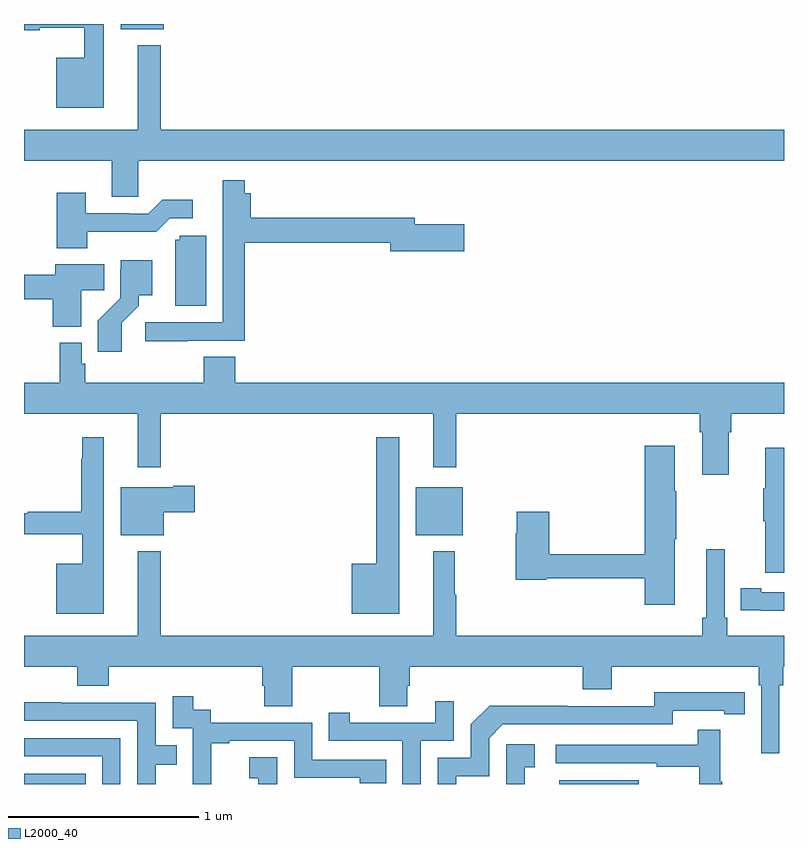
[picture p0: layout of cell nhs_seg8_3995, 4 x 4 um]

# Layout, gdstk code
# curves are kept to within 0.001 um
import gdstk
lib = gdstk.Library(unit=1e-6, precision=1e-09)
def R(c, l, rs):  # rectangles x0, y0, x1, y1
    for r in rs: c.add(gdstk.rectangle(r[:2], r[2:], *l))
def P(c, l, *ps):  # polygons
    for p in ps: c.add(gdstk.Polygon(p, *l))
L2000_40 = (2000, 40)

nhs_seg8_3995 = lib.new_cell('nhs_seg8_3995')
R(nhs_seg8_3995, L2000_40, [(357,1099.9,357.326,1099.954), (359.816,1099.9,360.235,1099.921), (359.063,1101.209,359.308,1101.463), (357.509,1103.873,357.736,1103.9)])
P(nhs_seg8_3995, L2000_40, [(357.421,1103.9),(357,1103.9),(357,1103.867),(357.084,1103.867),(357.084,1103.879),(357.317,1103.879),(357.317,1103.722),(357.17,1103.722),(357.17,1103.459),(357.421,1103.459)],
  [(357.6,1103.18),(361,1103.18),(361,1103.344),(357.721,1103.344),(357.721,1103.788),(357.599,1103.788),(357.599,1103.344),(357,1103.344),(357,1103.18),(357.461,1103.18),(357.461,1102.99),(357.6,1102.99)],
  [(357.863,1102.233),(358.163,1102.233),(358.163,1102.75),(358.928,1102.75),(358.928,1102.703),(359.317,1102.703),(359.317,1102.845),(359.056,1102.845),(359.056,1102.879),(358.193,1102.879),(358.193,1103.008),(358.163,1103.008),(358.163,1103.077),(358.047,1103.077),(358.047,1102.329),(357.639,1102.329),(357.639,1102.231),(357.863,1102.231)],
  [(357.333,1102.806),(357.695,1102.806),(357.768,1102.878),(357.889,1102.878),(357.889,1102.975),(357.727,1102.975),(357.654,1102.902),(357.554,1102.902),(357.554,1102.905),(357.325,1102.905),(357.325,1103.011),(357.173,1103.011),(357.173,1102.721),(357.333,1102.721)],
  [(357.958,1102.785),(357.819,1102.785),(357.819,1102.764),(357.797,1102.764),(357.797,1102.416),(357.958,1102.416)],
  [(357.514,1102.327),(357.604,1102.417),(357.604,1102.472),(357.676,1102.472),(357.676,1102.657),(357.509,1102.657),(357.509,1102.608),(357.507,1102.608),(357.507,1102.457),(357.388,1102.338),(357.388,1102.176),(357.514,1102.176)],
  [(357.301,1102.498),(357.422,1102.498),(357.422,1102.636),(357.164,1102.636),(357.164,1102.58),(357,1102.58),(357,1102.452),(357.152,1102.452),(357.152,1102.307),(357.301,1102.307)],
  [(360.709,1101.752),(360.722,1101.752),(360.722,1101.848),(361,1101.848),(361,1102.012),(358.112,1102.012),(358.112,1102.148),(357.947,1102.148),(357.947,1102.012),(357.323,1102.012),(357.323,1102.113),(357.303,1102.113),(357.303,1102.222),(357.187,1102.222),(357.187,1102.012),(357,1102.012),(357,1101.848),(357.599,1101.848),(357.599,1101.567),(357.721,1101.567),(357.721,1101.848),(359.153,1101.848),(359.153,1101.567),(359.275,1101.567),(359.275,1101.848),(360.557,1101.848),(360.557,1101.752),(360.569,1101.752),(360.569,1101.528),(360.709,1101.528)],
  [(358.975,1101.724),(358.854,1101.724),(358.854,1101.058),(358.724,1101.058),(358.724,1100.795),(358.975,1100.795)],
  [(357.421,1101.724),(357.307,1101.724),(357.307,1101.611),(357.3,1101.611),(357.3,1101.332),(357.021,1101.332),(357.021,1101.325),(357,1101.325),(357,1101.215),(357.307,1101.215),(357.307,1101.058),(357.17,1101.058),(357.17,1100.795),(357.421,1100.795)],
  [(360.424,1101.187),(360.432,1101.187),(360.432,1101.44),(360.424,1101.44),(360.424,1101.679),(360.266,1101.679),(360.266,1101.11),(359.765,1101.11),(359.765,1101.334),(359.594,1101.334),(359.594,1101.221),(359.587,1101.221),(359.587,1100.974),(359.748,1100.974),(359.748,1100.982),(360.266,1100.982),(360.266,1100.844),(360.424,1100.844)],
  [(361,1101.67),(360.902,1101.67),(360.902,1101.457),(360.891,1101.457),(360.891,1101.283),(360.902,1101.283),(360.902,1101.012),(361,1101.012)],
  [(357.736,1101.329),(357.898,1101.329),(357.898,1101.471),(357.785,1101.471),(357.785,1101.463),(357.509,1101.463),(357.509,1101.209),(357.736,1101.209)],
  [(361,1100.91),(360.88,1100.91),(360.88,1100.93),(360.772,1100.93),(360.772,1100.814),(360.88,1100.814),(360.88,1100.813),(361,1100.813)],
  [(360.59,1101.136),(360.59,1100.776),(360.571,1100.776),(360.571,1100.68),(359.275,1100.68),(359.275,1100.897),(359.267,1100.897),(359.267,1101.124),(359.153,1101.124),(359.153,1100.68),(357.721,1100.68),(357.721,1101.124),(357.599,1101.124),(357.599,1100.68),(357,1100.68),(357,1100.516),(357.281,1100.516),(357.281,1100.417),(357.446,1100.417),(357.446,1100.516),(358.253,1100.516),(358.253,1100.418),(358.265,1100.418),(358.265,1100.308),(358.413,1100.308),(358.413,1100.516),(358.87,1100.516),(358.87,1100.308),(359.017,1100.308),(359.017,1100.418),(359.03,1100.418),(359.03,1100.516),(359.942,1100.516),(359.942,1100.399),(360.094,1100.399),(360.094,1100.516),(360.866,1100.516),(360.866,1100.42),(360.879,1100.42),(360.879,1100.061),(360.976,1100.061),(360.976,1100.42),(360.995,1100.42),(360.995,1100.516),(361,1100.516),(361,1100.68),(360.701,1100.68),(360.701,1100.776),(360.687,1100.776),(360.687,1101.136)],
  [(359.275,1099.941),(359.448,1099.941),(359.448,1100.142),(359.52,1100.214),(360.414,1100.214),(360.414,1100.286),(360.686,1100.286),(360.686,1100.266),(360.794,1100.266),(360.794,1100.382),(360.318,1100.383),(360.318,1100.31),(359.858,1100.31),(359.858,1100.312),(359.45,1100.312),(359.352,1100.214),(359.352,1100.037),(359.178,1100.037),(359.178,1099.9),(359.275,1099.9)],
  [(357.986,1100.115),(358.081,1100.115),(358.081,1100.127),(358.422,1100.127),(358.422,1099.932),(358.767,1099.932),(358.767,1099.905),(358.907,1099.905),(358.907,1100.028),(358.518,1100.028),(358.518,1100.223),(357.984,1100.223),(357.984,1100.292),(357.892,1100.292),(357.892,1100.362),(357.783,1100.362),(357.783,1100.193),(357.888,1100.193),(357.888,1099.964),(357.887,1099.964),(357.887,1099.9),(357.986,1099.9)],
  [(359.088,1100.127),(359.262,1100.127),(359.262,1100.335),(359.165,1100.335),(359.165,1100.223),(358.714,1100.223),(358.714,1100.275),(358.603,1100.275),(358.603,1100.127),(358.992,1100.127),(358.992,1099.9),(359.088,1099.9)],
  [(357.693,1100.002),(357.803,1100.002),(357.803,1100.103),(357.693,1100.103),(357.693,1100.328),(357.197,1100.328),(357.197,1100.33),(357,1100.33),(357,1100.232),(357.597,1100.232),(357.597,1099.9),(357.693,1099.9)],
  [(360.676,1099.913),(360.665,1099.913),(360.665,1100.185),(360.547,1100.185),(360.547,1100.106),(359.799,1100.106),(359.799,1100.01),(360.331,1100.01),(360.331,1099.99),(360.555,1099.99),(360.555,1099.9),(360.676,1099.9)],
  [(357.507,1100.142),(357,1100.142),(357,1100.046),(357.411,1100.046),(357.411,1099.9),(357.507,1099.9)],
  [(359.636,1099.989),(359.689,1099.989),(359.689,1100.11),(359.538,1100.11),(359.538,1099.9),(359.636,1099.9)],
  [(358.332,1100.041),(358.185,1100.041),(358.185,1099.931),(358.234,1099.931),(358.234,1099.9),(358.332,1099.9)])

lib.write_gds('nhs_seg8_3995.gds')
